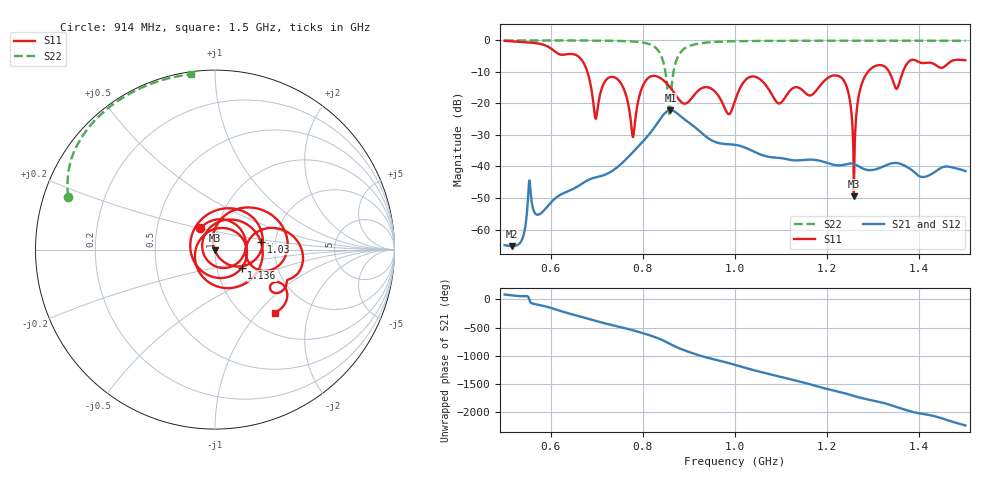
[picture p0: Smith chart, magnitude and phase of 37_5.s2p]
! TOUCHSTONE file generated by CST MICROWAVE STUDIO
! Date and time: Mon Nov 30 08:09:25 2020
! Project name: Scenario_1_Planar_Body_Tissue_Out_of_Line.cst
! Parameters = {dy1=276.8; L_HA=400; Ltissue=700; MT=2.54; Rad_Dielectric=30; Rad_Lower=7.3; Rad_Upper=30; Wtissue=700; a_HA=580; a_WG=246; b_HA=500; b_WG=121; c_HA=0; c_WG=187; d_feed=85; dx1=866; h_feed=15; h_lower=18; h_upper=40; hfat=3; hgap=25; hmuscle=50; hskin=1.5}
! Header version: 2018
! Port assignment regex: !\s*Touchstone port\s*([0-9]+)\s*=\s*(CST MWS port|CST DS port)\s*([0-9]+|Zmin|Zmax)\s*\(\"(.*)\"\)(\s*mode\s*([0-9]+))?.*
! Touchstone port assignment:
! Touchstone port 1 = CST MWS port 1 ("")
! Touchstone port 2 = CST MWS port 2 ("")
# GHz S DB R 50
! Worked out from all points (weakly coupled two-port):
!   1003 points, 500 MHz to 1.5 GHz, reference 50 ohm
!   highest |S21| = -22.14 dB at 860 MHz (marker M1); lowest = -65.3 dB at 516 MHz (marker M2)
!   lowest |S11| = -49.5 dB at 1.258 GHz (marker M3), VSWR 1.01, Z = 49.9 - j0.301 ohm
!   |S11| at or under -10 dB: 679.7 MHz to 1.288 GHz (608.7 MHz wide, 61.9 % of centre); 1.335 GHz to 1.364 GHz (29.68 MHz wide, 2.2 % of centre)
!   |S22| runs from -24.1 to 0.0 dB; largest |S21 - S12| = 0.0013
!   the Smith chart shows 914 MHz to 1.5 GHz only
!   S11 on the Smith chart (normalised r, x): 914 MHz: 0.83, +0.20; 1.03 GHz: 1.68, +0.16; 1.136 GHz: 1.32, -0.28; 1.5 GHz: 1.34, -1.24
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0.5  -0.12 -122.1  -64.96 85.4  -64.96 85.4  -0.01 151.2
0.516  -0.27 -128.5  -65.28 69.7  -65.23 69.1  -0.01 150.1
0.555  -0.65 -148.0  -45.63 -38.3  -46.53 -29.4  -0.01 147.4
0.573  -0.97 -159.7  -55.28 -94.4  -55.28 -94.4  -0.01 146.1
0.667  -6.12 125.4  -45.53 49.0  -45.53 49.0  -0.04 138.4
0.697  -24.71 131.0  -43.47 -23.2  -43.47 -23.2  -0.06 135.2
0.739  -11.73 138.5  -40.86 -106.8  -40.86 -106.8  -0.13 129.4
0.778  -30.57 130.5  -35.52 172.2  -35.52 172.2  -0.34 120.9
0.802  -13.81 162.5  -31.76 114.6  -31.76 114.6  -0.73 111.6
0.834  -11.61 77.4  -25.72 26.4  -25.72 26.4  -3.35 83.5
0.86  -15.01 2.7  -22.14 -76.0  -22.14 -76.0  -19.36 -108.1
0.876  -18.31 -53.6  -23.32 -138.9  -23.32 -138.9  -5.19 -166.5
0.914  -16.86 124.6  -27.64 107.0  -27.64 107.0  -1.20 160.2
1  -19.12 114.6  -33.12 -83.2  -33.12 -83.2  -0.27 140.2
1.03  -11.73 9.8  -34.52 -154.5  -34.52 -154.5  -0.19 136.5
1.136  -14.88 -34.3  -38.06 -10.3  -38.06 -10.3  -0.10 126.7
1.167  -17.27 179.1  -37.82 -77.7  -37.82 -77.7  -0.10 124.2
1.232  -11.98 -4.2  -39.57 145.6  -39.57 145.6  -0.08 119.2
1.258  -49.49 -115.7  -39.20 84.6  -39.20 84.6  -0.09 117.2
1.282  -11.41 58.9  -40.91 34.3  -40.91 34.3  -0.08 115.5
1.334  -9.83 -21.1  -39.25 -67.1  -39.25 -67.1  -0.09 111.5
1.5  -6.30 -46.6  -41.44 -78.9  -41.44 -78.9  -0.13 97.9
